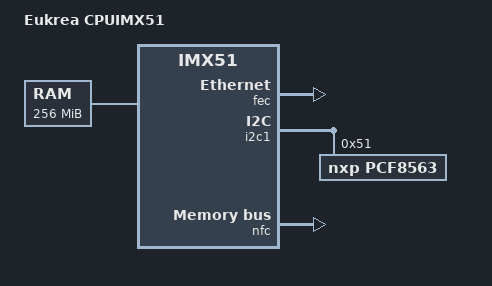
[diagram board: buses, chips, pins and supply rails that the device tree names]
/*
 * Copyright 2013 Eukréa Electromatique <denis@eukrea.com>
 *
 * This program is free software; you can redistribute it and/or
 * modify it under the terms of the GNU General Public License
 * as published by the Free Software Foundation; either version 2
 * of the License, or (at your option) any later version.
 * This program is distributed in the hope that it will be useful,
 * but WITHOUT ANY WARRANTY; without even the implied warranty of
 * MERCHANTABILITY or FITNESS FOR A PARTICULAR PURPOSE.  See the
 * GNU General Public License for more details.
 *
 * You should have received a copy of the GNU General Public License
 * along with this program; if not, write to the Free Software
 * Foundation, Inc., 51 Franklin Street, Fifth Floor, Boston,
 * MA 02110-1301, USA.
 */

#include "imx51.dtsi"

/ {
	model = "Eukrea CPUIMX51";
	compatible = "eukrea,cpuimx51", "fsl,imx51";

	memory {
		reg = <0x90000000 0x10000000>; /* 256M */
	};
};

&fec {
	pinctrl-names = "default";
	pinctrl-0 = <&pinctrl_fec>;
	status = "okay";
};

&i2c1 {
	pinctrl-names = "default";
	pinctrl-0 = <&pinctrl_i2c1>;
	status = "okay";

	pcf8563@51 {
		compatible = "nxp,pcf8563";
		reg = <0x51>;
	};
};

&iomuxc {
	imx51-eukrea {
		pinctrl_tsc2007_1: tsc2007grp-1 {
			fsl,pins = <
				MX51_PAD_GPIO_NAND__GPIO_NAND 0x1f5
				MX51_PAD_NANDF_D8__GPIO4_0 0x1f5
			>;
		};

		pinctrl_fec: fecgrp {
			fsl,pins = <MX51_FEC_PINGRP2>;
		};

		pinctrl_i2c1: i2c1grp {
			fsl,pins = <MX51_I2C1_PINGRP1>;
		};
	};
};

&nfc {
	nand-bus-width = <8>;
	nand-ecc-mode = "hw";
	nand-on-flash-bbt;
	status = "okay";
};
